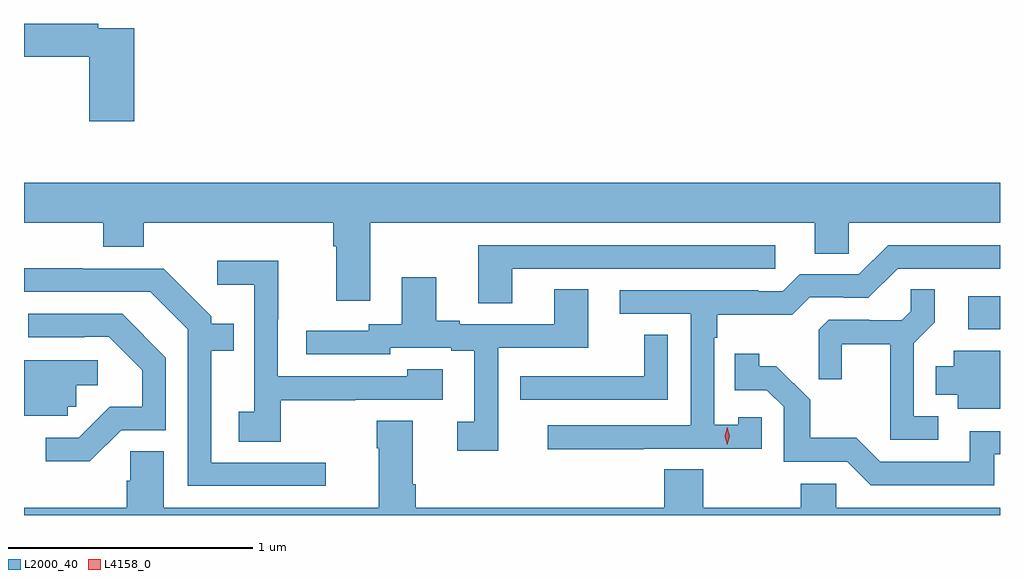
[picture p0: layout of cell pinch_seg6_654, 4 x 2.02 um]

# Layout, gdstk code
import gdstk
lib = gdstk.Library(unit=1e-6, precision=1e-09)
def R(c, l, rs):  # rectangles x0, y0, x1, y1
    for r in rs: c.add(gdstk.rectangle(r[:2], r[2:], *l))
def P(c, l, *ps):  # polygons
    for p in ps: c.add(gdstk.Polygon(p, *l))
L2000_40 = (2000, 40)
L4158_0 = (4158, 0)

pinch_seg6_654 = lib.new_cell('pinch_seg6_654')
R(pinch_seg6_654, L2000_40, [(385.827,916.263,385.958,916.399)])
P(pinch_seg6_654, L2000_40, [(382.409,917.496),(382.262,917.496),(382.262,917.516),(381.958,917.516),(381.958,917.38),(382.226,917.38),(382.226,917.115),(382.409,917.115)],
  [(383.377,916.7),(385.199,916.7),(385.199,916.573),(385.338,916.573),(385.338,916.7),(385.958,916.7),(385.958,916.864),(381.958,916.864),(381.958,916.7),(382.283,916.7),(382.283,916.601),(382.448,916.601),(382.448,916.7),(383.225,916.7),(383.225,916.604),(383.237,916.604),(383.237,916.38),(383.377,916.38)],
  [(383.959,916.512),(385.036,916.512),(385.036,916.608),(383.819,916.608),(383.819,916.369),(383.959,916.369)],
  [(384.497,915.774),(384.981,915.774),(384.981,915.903),(384.885,915.903),(384.885,915.871),(384.786,915.871),(384.786,916.229),(384.799,916.229),(384.799,916.322),(385.106,916.322),(385.179,916.395),(385.318,916.395),(385.318,916.392),(385.419,916.392),(385.539,916.512),(385.958,916.512),(385.958,916.608),(385.5,916.608),(385.38,916.488),(385.137,916.488),(385.068,916.419),(384.968,916.419),(384.968,916.422),(384.399,916.422),(384.399,916.326),(384.69,916.326),(384.69,915.87),(384.105,915.87),(384.105,915.772),(384.497,915.772)],
  [(383.011,915.973),(383.315,915.973),(383.315,915.975),(383.674,915.975),(383.674,916.099),(383.529,916.099),(383.529,916.071),(382.998,916.071),(382.998,916.304),(383.001,916.304),(383.001,916.543),(382.749,916.543),(382.749,916.445),(382.902,916.445),(382.902,915.924),(382.839,915.924),(382.839,915.802),(383.011,915.802)],
  [(383.194,915.717),(382.726,915.717),(382.726,916.176),(382.817,916.176),(382.817,916.285),(382.725,916.285),(382.725,916.317),(382.53,916.512),(382.199,916.512),(382.199,916.514),(381.958,916.514),(381.958,916.416),(382.476,916.416),(382.629,916.263),(382.629,915.621),(383.194,915.621)],
  [(383.901,916.188),(384.271,916.188),(384.271,916.427),(384.131,916.427),(384.131,916.284),(383.743,916.284),(383.743,916.297),(383.647,916.297),(383.647,916.477),(383.507,916.477),(383.507,916.284),(383.37,916.284),(383.37,916.257),(383.115,916.257),(383.115,916.161),(383.46,916.161),(383.46,916.188),(383.708,916.188),(383.708,916.176),(383.804,916.176),(383.804,915.885),(383.733,915.885),(383.733,915.765),(383.901,915.765)],
  [(385.705,915.906),(385.605,915.906),(385.605,916.205),(385.691,916.291),(385.691,916.427),(385.593,916.427),(385.593,916.336),(385.556,916.299),(385.422,916.299),(385.422,916.302),(385.257,916.302),(385.216,916.261),(385.216,916.059),(385.31,916.059),(385.31,916.202),(385.508,916.202),(385.508,915.81),(385.705,915.81)],
  [(382.356,915.849),(382.539,915.849),(382.539,916.147),(382.36,916.326),(381.975,916.326),(381.975,916.23),(382.205,916.23),(382.205,916.233),(382.305,916.233),(382.442,916.096),(382.442,915.946),(382.309,915.946),(382.182,915.819),(382.047,915.819),(382.047,915.722),(382.228,915.722)],
  [(384.597,916.241),(384.499,916.241),(384.499,916.071),(384.103,916.071),(384.103,916.07),(383.991,916.07),(383.991,915.975),(384.597,915.975)],
  [(385.958,916.174),(385.769,916.174),(385.769,916.111),(385.694,916.111),(385.694,915.995),(385.784,915.995),(385.784,915.938),(385.958,915.938)],
  [(385.934,915.75),(385.958,915.75),(385.958,915.846),(385.835,915.846),(385.835,915.72),(385.467,915.72),(385.369,915.819),(385.18,915.819),(385.18,915.974),(385.042,916.112),(384.972,916.112),(384.972,916.162),(384.871,916.162),(384.871,916.014),(385.002,916.014),(385.071,915.945),(385.071,915.72),(385.332,915.72),(385.428,915.624),(385.934,915.624)],
  [(382.137,915.945),(382.173,915.945),(382.173,916.034),(382.261,916.034),(382.261,916.137),(381.958,916.137),(381.958,915.909),(382.137,915.909)],
  [(385.958,915.532),(385.287,915.532),(385.287,915.63),(385.141,915.63),(385.141,915.532),(384.741,915.532),(384.741,915.689),(384.581,915.689),(384.581,915.532),(383.564,915.532),(383.564,915.628),(383.551,915.628),(383.551,915.889),(383.404,915.889),(383.404,915.776),(383.411,915.776),(383.411,915.532),(382.531,915.532),(382.531,915.764),(382.393,915.764),(382.393,915.642),(382.379,915.642),(382.379,915.532),(381.958,915.532),(381.958,915.5),(385.958,915.5)])
P(pinch_seg6_654, L4158_0, [(384.84,915.789),(384.84,915.789),(384.83,915.825),(384.84,915.861),(384.84,915.861),(384.84,915.861),(384.85,915.825),(384.84,915.789)])

lib.write_gds('pinch_seg6_654.gds')
